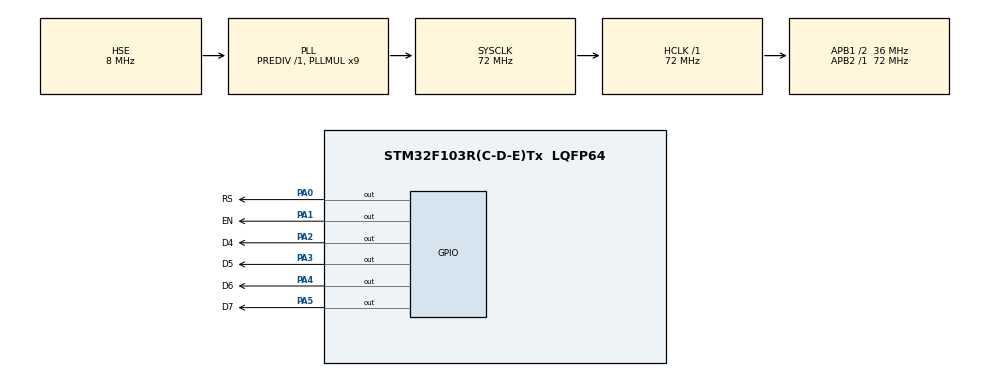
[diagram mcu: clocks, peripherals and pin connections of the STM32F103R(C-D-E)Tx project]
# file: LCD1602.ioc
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Mcu.Family=STM32F1
Mcu.Name=STM32F103R(C-D-E)Tx
Mcu.Package=LQFP64
NVIC.PriorityGroup=NVIC_PRIORITYGROUP_4
PA0-WKUP.GPIO_Label=RS
PA0-WKUP.GPIO_ModeDefaultOutputPP=GPIO_MODE_OUTPUT_PP
PA0-WKUP.GPIO_Speed=GPIO_SPEED_FREQ_MEDIUM
PA0-WKUP.PinState=GPIO_PIN_SET
PA0-WKUP.Signal=GPIO_Output
PA1.GPIO_Label=EN
PA1.GPIO_ModeDefaultOutputPP=GPIO_MODE_OUTPUT_PP
PA1.GPIO_Speed=GPIO_SPEED_FREQ_MEDIUM
PA1.PinState=GPIO_PIN_SET
PA1.Signal=GPIO_Output
PA2.GPIO_Label=D4
PA2.GPIO_ModeDefaultOutputPP=GPIO_MODE_OUTPUT_PP
PA2.GPIO_Speed=GPIO_SPEED_FREQ_MEDIUM
PA2.PinState=GPIO_PIN_SET
PA2.Signal=GPIO_Output
PA3.GPIO_Label=D5
PA3.GPIO_ModeDefaultOutputPP=GPIO_MODE_OUTPUT_PP
PA3.GPIO_Speed=GPIO_SPEED_FREQ_MEDIUM
PA3.PinState=GPIO_PIN_SET
PA3.Signal=GPIO_Output
PA4.GPIO_Label=D6
PA4.GPIO_ModeDefaultOutputPP=GPIO_MODE_OUTPUT_PP
PA4.GPIO_Speed=GPIO_SPEED_FREQ_MEDIUM
PA4.PinState=GPIO_PIN_SET
PA4.Signal=GPIO_Output
PA5.GPIO_Label=D7
PA5.GPIO_ModeDefaultOutputPP=GPIO_MODE_OUTPUT_PP
PA5.GPIO_Speed=GPIO_SPEED_FREQ_MEDIUM
PA5.PinState=GPIO_PIN_SET
PA5.Signal=GPIO_Output
PD0-OSC_IN.Mode=HSE-External-Oscillator
PD0-OSC_IN.Signal=RCC_OSC_IN
PD1-OSC_OUT.Mode=HSE-External-Oscillator
PD1-OSC_OUT.Signal=RCC_OSC_OUT
ProjectManager.HeapSize=0x200
ProjectManager.StackSize=0x400
ProjectManager.TargetToolchain=MDK-ARM V4
RCC.AHBFreq_Value=72000000
RCC.APB1CLKDivider=RCC_HCLK_DIV2
RCC.APB1Freq_Value=36000000
RCC.APB1TimCLKDivider=1
RCC.APB1TimFreq_Value=36000000
RCC.APB2Freq_Value=72000000
RCC.APB2TimFreq_Value=72000000
RCC.HCLKFreq_Value=72000000
RCC.HSIState=RCC_HSI_ON
RCC.PLLMUL=RCC_PLL_MUL9
RCC.PLLSourceVirtual=RCC_PLLSOURCE_HSE
RCC.SYSCLKFreq_VALUE=72000000
RCC.SYSCLKSource=RCC_SYSCLKSOURCE_PLLCLK
RCC.USBFreq_Value=72000000
board=LCD1602

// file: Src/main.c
/**
  ******************************************************************************
  * File Name          : main.c
  * Description        : Main program body
  ******************************************************************************
  *
  * COPYRIGHT(c) 2016 STMicroelectronics
  *
  * Redistribution and use in source and binary forms, with or without modification,
  * are permitted provided that the following conditions are met:
  *   1. Redistributions of source code must retain the above copyright notice,
  *      this list of conditions and the following disclaimer.
  *   2. Redistributions in binary form must reproduce the above copyright notice,
  *      this list of conditions and the following disclaimer in the documentation
  *      and/or other materials provided with the distribution.
  *   3. Neither the name of STMicroelectronics nor the names of its contributors
  *      may be used to endorse or promote products derived from this software
  *      without specific prior written permission.
  *
  * THIS SOFTWARE IS PROVIDED BY THE COPYRIGHT HOLDERS AND CONTRIBUTORS "AS IS"
  * AND ANY EXPRESS OR IMPLIED WARRANTIES, INCLUDING, BUT NOT LIMITED TO, THE
  * IMPLIED WARRANTIES OF MERCHANTABILITY AND FITNESS FOR A PARTICULAR PURPOSE ARE
  * DISCLAIMED. IN NO EVENT SHALL THE COPYRIGHT HOLDER OR CONTRIBUTORS BE LIABLE
  * FOR ANY DIRECT, INDIRECT, INCIDENTAL, SPECIAL, EXEMPLARY, OR CONSEQUENTIAL
  * DAMAGES (INCLUDING, BUT NOT LIMITED TO, PROCUREMENT OF SUBSTITUTE GOODS OR
  * SERVICES; LOSS OF USE, DATA, OR PROFITS; OR BUSINESS INTERRUPTION) HOWEVER
  * CAUSED AND ON ANY THEORY OF LIABILITY, WHETHER IN CONTRACT, STRICT LIABILITY,
  * OR TORT (INCLUDING NEGLIGENCE OR OTHERWISE) ARISING IN ANY WAY OUT OF THE USE
  * OF THIS SOFTWARE, EVEN IF ADVISED OF THE POSSIBILITY OF SUCH DAMAGE.
  *
  ******************************************************************************
  */
#include "stm32f1xx_hal.h"

#define GPIO_PIN_SET 1
#define GPIO_PIN_RESET 0
#define RS_Port GPIOA
#define EN_Port GPIOA
#define D4_Port GPIOA
#define D5_Port GPIOA
#define D6_Port GPIOA
#define D7_Port GPIOA

//RS:A0
//EN:A1
//D4:A2
//D5:A3
//D6:A4
//D7:A5

/* USER CODE BEGIN PV */
/* Private variables ---------------------------------------------------------*/

/* USER CODE END PV */

void SystemClock_Config(void);
static void MX_GPIO_Init(void);

/* USER CODE BEGIN PFP */
/* Private function prototypes -----------------------------------------------*/

/* USER CODE END PFP */

/* USER CODE BEGIN 0 */

void LCD_Enable()
{
HAL_GPIO_WritePin(GPIOA,EN_Pin,1);
HAL_Delay(1);
HAL_GPIO_WritePin(GPIOA,EN_Pin,0);
HAL_Delay(1);
}

void LCD_Send4Bit(unsigned char Data)
{
HAL_GPIO_WritePin(GPIOA,D4_Pin,Data&0x01);
HAL_GPIO_WritePin(GPIOA,D5_Pin,(Data>>1)&0x01);
HAL_GPIO_WritePin(GPIOA,D6_Pin,(Data>>2)&0x01);
HAL_GPIO_WritePin(GPIOA,D7_Pin,(Data>>3)&0x01);
}

void LCD_SendCommand(unsigned char command)
{
	LCD_Send4Bit(command >>4);/* Gui 4 bit cao */
	LCD_Enable();
	LCD_Send4Bit(command);	/* Gui 4 bit thap*/
	LCD_Enable();
}
/* USER CODE END 0 */
void LCD_Clear()
{
 	LCD_SendCommand(0x01);
  HAL_Delay(1);
}

void LCD_Init()
{
	LCD_Send4Bit(0x00);
  HAL_GPIO_WritePin(GPIOA,RS_Pin,0);
	LCD_Send4Bit(0x03);
	LCD_Enable();
	LCD_Enable();
	LCD_Enable();
	LCD_Send4Bit(0x02);
	LCD_Enable();
	LCD_SendCommand(0x28); // giao thuc 4 bit, hien thi 2 hang, ki tu 5x8
	LCD_SendCommand(0x0C); // cho phep hien thi man hinh
	LCD_SendCommand(0x06); // tang ID, khong dich khung hinh
	LCD_SendCommand(0x01); // xoa toan bo khung hinh
}

void LCD_Gotoxy(unsigned char x, unsigned char y)
{
	unsigned char address;
  	if(!y)address=(0x80+x);
  	else address=(0xC0+x);
  	LCD_SendCommand(address);

}

void LCD_PutChar(unsigned char Data)
{
  HAL_GPIO_WritePin(GPIOA,RS_Pin,1);
 	LCD_SendCommand(Data);
  HAL_GPIO_WritePin(GPIOA,RS_Pin,0);
}

void LCD_Puts(char *s)
{
   	while (*s){
      	LCD_PutChar(*s);
     	s++;
   	}
}

int main(void)
{

  /* MCU Configuration----------------------------------------------------------*/

  /* Reset of all peripherals, Initializes the Flash interface and the Systick. */
  HAL_Init();

  /* Configure the system clock */
  SystemClock_Config();

  /* Initialize all configured peripherals */
  MX_GPIO_Init();

  /* Infinite loop */
  /* USER CODE BEGIN WHILE */
	LCD_Init();
  while (1)
  {
  /* USER CODE END WHILE */
  /* USER CODE BEGIN 3 */
		LCD_Gotoxy(0,0);
		LCD_Puts("Test");
 }

  /* USER CODE END 3 */

}

/** System Clock Configuration
*/
void SystemClock_Config(void)
{

  RCC_OscInitTypeDef RCC_OscInitStruct;
  RCC_ClkInitTypeDef RCC_ClkInitStruct;

  RCC_OscInitStruct.OscillatorType = RCC_OSCILLATORTYPE_HSE;
  RCC_OscInitStruct.HSEState = RCC_HSE_ON;
  RCC_OscInitStruct.HSEPredivValue = RCC_HSE_PREDIV_DIV1;
  RCC_OscInitStruct.PLL.PLLState = RCC_PLL_ON;
  RCC_OscInitStruct.PLL.PLLSource = RCC_PLLSOURCE_HSE;
  RCC_OscInitStruct.PLL.PLLMUL = RCC_PLL_MUL9;
  HAL_RCC_OscConfig(&RCC_OscInitStruct);

  RCC_ClkInitStruct.ClockType = RCC_CLOCKTYPE_HCLK|RCC_CLOCKTYPE_SYSCLK
                              |RCC_CLOCKTYPE_PCLK1|RCC_CLOCKTYPE_PCLK2;
  RCC_ClkInitStruct.SYSCLKSource = RCC_SYSCLKSOURCE_PLLCLK;
  RCC_ClkInitStruct.AHBCLKDivider = RCC_SYSCLK_DIV1;
  RCC_ClkInitStruct.APB1CLKDivider = RCC_HCLK_DIV2;
  RCC_ClkInitStruct.APB2CLKDivider = RCC_HCLK_DIV1;
  HAL_RCC_ClockConfig(&RCC_ClkInitStruct, FLASH_LATENCY_2);

  HAL_SYSTICK_Config(HAL_RCC_GetHCLKFreq()/1000);

  HAL_SYSTICK_CLKSourceConfig(SYSTICK_CLKSOURCE_HCLK);

  /* SysTick_IRQn interrupt configuration */
  HAL_NVIC_SetPriority(SysTick_IRQn, 0, 0);
}

/** Configure pins as
        * Analog
        * Input
        * Output
        * EVENT_OUT
        * EXTI
*/
void MX_GPIO_Init(void)
{

  GPIO_InitTypeDef GPIO_InitStruct;

  /* GPIO Ports Clock Enable */
  __HAL_RCC_GPIOD_CLK_ENABLE();
  __HAL_RCC_GPIOA_CLK_ENABLE();

  /*Configure GPIO pin Output Level */
  HAL_GPIO_WritePin(GPIOA, RS_Pin|EN_Pin|D4_Pin|D5_Pin
                          |D6_Pin|D7_Pin, GPIO_PIN_SET);

  /*Configure GPIO pins : RS_Pin EN_Pin D4_Pin D5_Pin
                           D6_Pin D7_Pin */
  GPIO_InitStruct.Pin = RS_Pin|EN_Pin|D4_Pin|D5_Pin
                          |D6_Pin|D7_Pin;
  GPIO_InitStruct.Mode = GPIO_MODE_OUTPUT_PP;
  GPIO_InitStruct.Speed = GPIO_SPEED_FREQ_MEDIUM;
  HAL_GPIO_Init(GPIOA, &GPIO_InitStruct);

}

/************************ (C) COPYRIGHT STMicroelectronics *****END OF FILE****/
